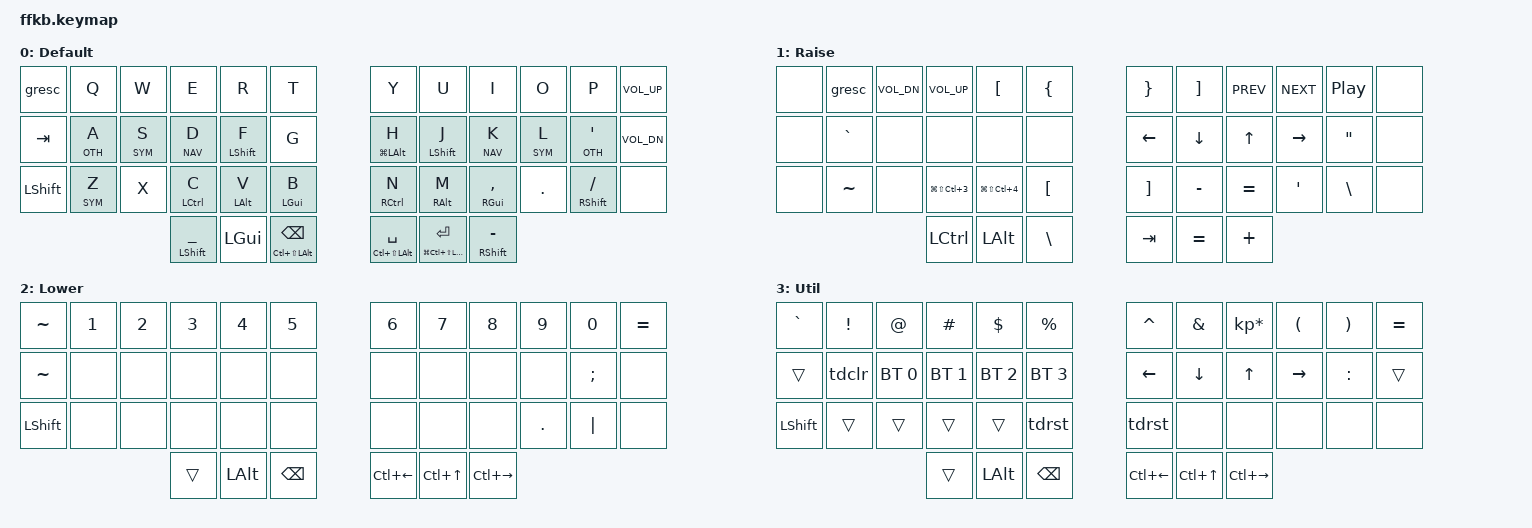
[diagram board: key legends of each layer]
#include <behaviors.dtsi>
#include <dt-bindings/zmk/keys.h>
#include <dt-bindings/zmk/bt.h>
#include <dt-bindings/zmk/ext_power.h>
#include <dt-bindings/zmk/outputs.h>

#define DEFAULT 0
#define NAV     1
#define SYM     2
#define OTH     3


#define TAPPING_TERM 200
#define QUICK_TAP    150

&lt {
	flavor = "tap-preferred";
	tapping-term-ms = <TAPPING_TERM>;
    quick-tap-ms = <QUICK_TAP>;
};

&mt {
	flavor = "tap-preferred";
	tapping-term-ms = <TAPPING_TERM>;
    quick-tap-ms = <QUICK_TAP>;
};
&caps_word {
    continue-list = <UNDERSCORE MINUS>;
};

/ {
    combos {
        compatible = "zmk,combos";
        combo_undo {
            timeout-ms = <50>;
            key-positions = <26 27>;
            bindings = <&kp LC(Z)>;
        };

        combo_q {
            timeout-ms = <50>;
            key-positions = <27 28>;
            bindings = <&kp Q>;
        };
        combo_semicolon {
            timeout-ms = <50>;
            key-positions = <33 34>;
            bindings = <&kp SEMI>;
        };
    };
};

/ {


    behaviors {
        hm: layer_mods {
            compatible = "tap-preferred";
            label = "LAYER_MODS";
            #binding-cells = <2>;
            tapping-term-ms = <200>;
            quick_tap_ms = <0>;
            flavor = "balanced";
            bindings = <&kp>, <&kp>;
        };
        tdclr: tap_dance_0 {
            compatible = "zmk,behavior-tap-dance";
            label = "TAP_DANCE_0";
            #binding-cells = <0>;
            tapping-term-ms = <200>;
            bindings = <&none>, <&bt BT_CLR>;
        };
        tdrst: tap_dance_1 {
            compatible = "zmk,behavior-tap-dance";
            label = "TAP_DANCE_0";
            #binding-cells = <0>;
            tapping-term-ms = <200>;
            bindings = <&none>, <&bootloader>;
        };
        hs: homerow_shift {
            compatible = "zmk,behavior-hold-tap";
            label = "HOMEROW_SHIFT";
            #binding-cells = <2>;
            tapping-term-ms = <175>;
            quick_tap_ms = <0>;
            flavor = "tap-preferred";
            bindings = <&kp>, <&kp>;
        };
        tdg: tap_dance_g {
            compatible = "zmk,behavior-tap-dance";
            label = "TAP_DANCE_G";
            #binding-cells = <0>;
            tapping-term-ms = <QUICK_TAP>;
            bindings = <&kp G>, <&caps_word>;
        };
        tdh: tap_dance_h {
            compatible = "zmk,behavior-tap-dance";
            label = "TAP_DANCE_M";
            #binding-cells = <0>;
            tapping-term-ms = <QUICK_TAP>;
            bindings = <&kp H>, <&caps_word>;
        };
    };

    keymap {
        compatible = "zmk,keymap";

        default_layer {
            label = "Default";


            bindings = <
     &gresc     &kp Q         &kp W        &kp E       &kp R         &kp T                              &kp Y        &kp U          &kp I       &kp O         &kp P   &kp C_VOL_UP
     &kp TAB    &lt OTH A  &lt SYM S   &lt NAV D &hs LSHIFT F  &kp G                                &mt LG(LALT) H  &hs LSHIFT J &lt NAV K &lt SYM L &lt OTH SQT &kp C_VOL_DN
    &kp LSHIFT &lt SYM Z       &kp X     &mt LCTL C &mt LALT V &mt LGUI B              &mt RCTL N &mt RALT M &mt RGUI COMMA &kp DOT   &mt RSHIFT FSLH &none
                              &mt LSHFT UNDER  &kp LGUI  &mt LC(LS(LALT)) BSPC                      &mt LC(LS(LALT)) SPACE &mt LG(LC(LS(LALT))) ENTER  &mt RSHFT MINUS
            >;
        };

        raise_layer {
            label = "Raise";


            bindings = <
    &none &gresc  &kp C_VOL_DN  &kp C_VOL_UP &kp LBKT   &kp LBRC                &kp RBRC   &kp RBKT   &kp C_PREV &kp C_NEXT &kp C_PLAY_PAUSE &none
   &none  &kp GRAVE   &none      &none      &none       &none                    &kp LEFT   &kp DOWN    &kp UP   &kp RIGHT   &kp DQT &none
   &none &kp TILDE   &none &kp LG(LS(LC(N3))) &kp LG(LS(LC(N4))) &kp LBKT            &kp RBKT  &kp MINUS  &kp EQUAL   &kp SQT   &kp BSLH &none
                                             &kp LCTL  &kp LALT   &kp BSLH                          &kp TAB  &kp EQUAL   &kp PLUS
            >;
        };
        lower_layer {
            label = "Lower  ";


            bindings = <
    &kp TILDE   &kp N1     &kp N2     &kp N3     &kp N4     &kp N5                    &kp N6   &kp N7 &kp N8  &kp N9   &kp N0    &kp EQUAL 
    &kp TILDE   &none      &none      &none      &none      &none                     &none    &none  &none   &none    &kp SEMI   &none  
    &kp LSHIFT  &none      &none      &none      &none      &none                     &none    &none  &none   &kp DOT    &kp PIPE     &none 
                                              &trans        &kp LALT      &kp BSPC        &kp LC(LEFT)   &kp LC(UP)    &kp LC(RIGHT)
            >;
        };
    util_layer {
            label = "Util";


            bindings = <
    &kp GRAVE  &kp EXCL &kp AT &kp HASH  &kp DOLLAR &kp PRCNT                             &kp CARET &kp AMPS  &kp KP_MULTIPLY &kp LPAR  &kp RPAR    &kp EQUAL
    &trans     &tdclr    &bt BT_SEL 0 &bt BT_SEL 1 &bt BT_SEL 2 &bt BT_SEL 3              &kp LEFT  &kp DOWN  &kp UP          &kp RIGHT   &kp COLON    &trans
    &kp LSHIFT &trans   &trans       &trans      &trans       &tdrst                      &tdrst &none   &none  &none &none &none  
                                             &trans        &kp LALT      &kp BSPC        &kp LC(LEFT)   &kp LC(UP)    &kp LC(RIGHT)     
            >;
        };
    };
};
